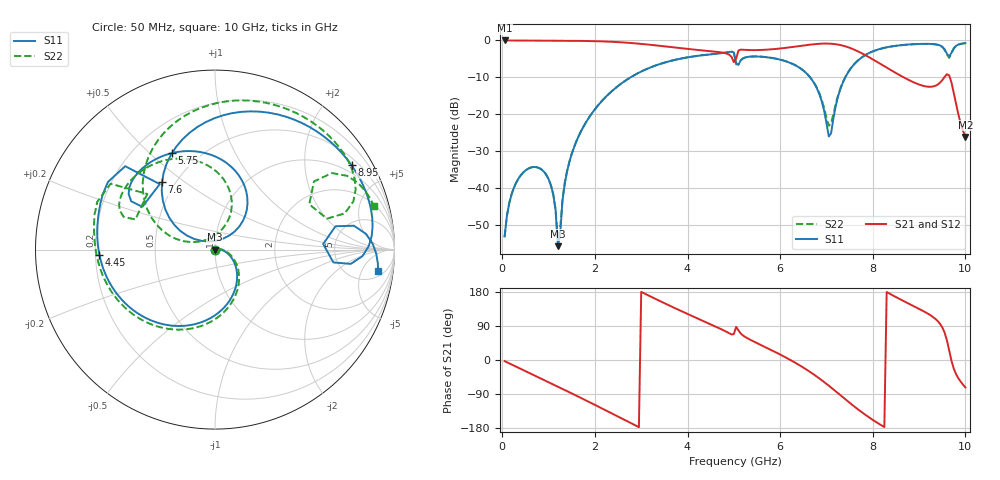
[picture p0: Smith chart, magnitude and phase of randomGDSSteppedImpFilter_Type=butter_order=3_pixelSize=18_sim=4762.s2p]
! freq	dB(S11)	phase(S11)	dB(S12)	phase(S12)
!  dB(S21)	phase(S21)	dB(S22)	phase(S22)
!S-par simulation data
#  GHz  S  DB  R 50
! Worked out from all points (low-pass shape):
!   200 points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, 50 MHz to 10 GHz, reference 50 ohm
!   highest |S21| = -0.01 dB at 50 MHz (marker M1); lowest = -26.1 dB at 10 GHz (marker M2)
!   |S21| within 3 dB of the highest: start of sweep to 4.579 GHz; 5.093 GHz to 7.69 GHz (2.596 GHz wide, 40.6 % of centre)
!   lowest |S11| = -55.6 dB at 1.2 GHz (marker M3), VSWR 1.00, Z = 49.8 - j0.00527 ohm
!   |S11| at or under -10 dB: start of sweep to 2.767 GHz; 6.647 GHz to 7.406 GHz (759.2 MHz wide, 10.8 % of centre)
!   |S22| runs from -53.9 to -0.7 dB; largest |S21 - S12| = 0
!   S11 on the Smith chart (normalised r, x): 50 MHz: 1.00, -0.00; 4.45 GHz: 0.22, -0.02; 5.75 GHz: 0.36, +0.59; 7.6 GHz: 0.42, +0.41; 8.95 GHz: 0.72, +3.38; 10 GHz: 7, -11
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0.05  -52.99 -82.6  -0.01 -3.0  -0.01 -3.0  -53.11 -81.3
0.3  -38.44 -106.2  -0.03 -17.6  -0.03 -17.6  -38.45 -106.2
0.75  -34.28 -134.9  -0.06 -43.8  -0.06 -43.8  -34.29 -135.3
1.05  -39.14 -153.4  -0.07 -61.4  -0.07 -61.4  -39.17 -156.6
1.15  -45.72 -160.4  -0.08 -67.3  -0.08 -67.3  -45.65 -170.4
1.2  -55.61 -178.2  -0.08 -70.2  -0.08 -70.2  -53.89 157.6
1.4  -35.32 6.8  -0.10 -82.1  -0.10 -82.1  -35.22 13.3
1.75  -23.38 -15.0  -0.14 -103.2  -0.14 -103.2  -23.36 -11.0
2.6  -11.38 -68.2  -0.53 -155.6  -0.53 -155.6  -11.36 -63.9
3.4  -6.39 -117.4  -1.45 155.8  -1.45 155.8  -6.38 -111.8
4.45  -3.82 -177.3  -2.85 96.9  -2.85 96.9  -3.81 -168.9
4.95  -3.03 147.7  -4.45 67.4  -4.45 67.4  -3.00 157.9
5.05  -6.43 130.1  -4.90 87.4  -4.90 87.4  -6.24 140.6
5.75  -4.60 114.0  -2.46 29.7  -2.46 29.7  -4.59 127.1
6.7  -10.89 51.5  -1.07 -35.9  -1.07 -35.9  -10.80 71.2
7.05  -25.94 80.8  -0.86 -67.7  -0.86 -67.7  -23.03 103.7
7.6  -6.41 128.1  -2.49 -122.6  -2.49 -122.6  -6.41 145.2
8.35  -1.73 68.6  -7.72 176.0  -7.72 176.0  -1.76 89.2
8.95  -0.97 31.7  -11.68 138.1  -11.68 138.1  -1.00 53.5
9.45  -1.34 1.3  -11.45 95.9  -11.45 95.9  -1.39 23.1
9.65  -4.39 3.0  -9.42 25.2  -9.42 25.2  -4.69 25.7
10  -0.75 -7.6  -26.07 -72.5  -26.07 -72.5  -0.74 15.3
